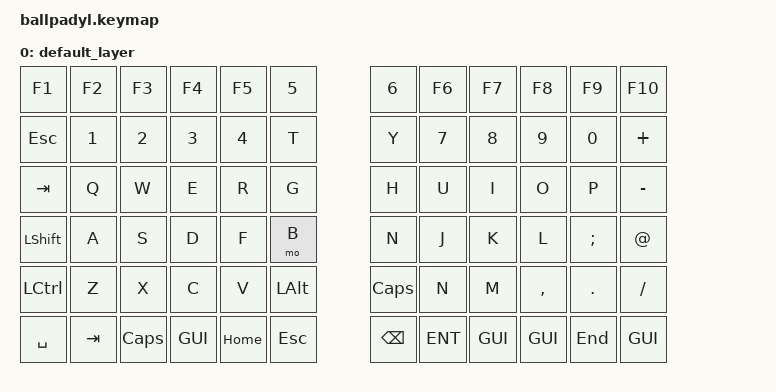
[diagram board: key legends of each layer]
/*
 * Copyright (c) 2024 The ZMK Contributors
 *
 * SPDX-License-Identifier: MIT
 */

#include <behaviors.dtsi>
#include <dt-bindings/zmk/bt.h>
#include <dt-bindings/zmk/keys.h>
#include <dt-bindings/zmk/outputs.h>



&soft_off { hold-time-ms = <5000>; };

/ 
    combos {
        compatible = "zmk,combos";

        qu {
            timeout-ms = <40>;
            key-positions = <2 1>;
            bindings = <&qu>;
            layers = <0>;
        };

        z {
            timeout-ms = <40>;
            key-positions = <19 18>;
            bindings = <&kp Z>;
            layers = <0>;
        };

        v {
            timeout-ms = <40>;
            key-positions = <1 0>;
            bindings = <&kp V>;
            layers = <0>;
        };

        q {
            timeout-ms = <40>;
            key-positions = <20 19>;
            bindings = <&kp Q>;
            layers = <0>;
        };

        lbrc {
            timeout-ms = <40>;
            key-positions = <0 9>;
            bindings = <&kp LBRC>;
            layers = <0 2>;
        };

        lbkt {
            timeout-ms = <40>;
            key-positions = <10 1>;
            bindings = <&kp LBKT>;
            layers = <0 2>;
        };

        lpar {
            timeout-ms = <40>;
            key-positions = <2 11>;
            bindings = <&kp LPAR>;
            layers = <0 2>;
        };

        lt {
            timeout-ms = <40>;
            key-positions = <3 12>;
            bindings = <&kp LT>;
            layers = <0 2>;
        };

        rbrc {
            timeout-ms = <40>;
            key-positions = <7 16>;
            bindings = <&kp RBRC>;
            layers = <0 2>;
        };

        rbkt {
            timeout-ms = <40>;
            key-positions = <6 15>;
            bindings = <&kp RBKT>;
            layers = <0 2>;
        };

        rpar {
            timeout-ms = <40>;
            key-positions = <5 14>;
            bindings = <&kp RPAR>;
            layers = <0 2>;
        };

        gt {
            timeout-ms = <40>;
            key-positions = <4 13>;
            bindings = <&kp GT>;
            layers = <0 2>;
        };

        capsword {
            timeout-ms = <40>;
            key-positions = <14 11>;
            bindings = <&caps_word>;
        };

        bspc {
            timeout-ms = <40>;
            key-positions = <16 14 15>;
            bindings = <&kp BSPC>;
        };

        del {
            timeout-ms = <40>;
            key-positions = <11 10 9>;
            bindings = <&kp DEL>;
        };

        fwslash {
            bindings = <&kp SLASH>;
            key-positions = <22 23>;
            timeout-ms = <40>;
            layers = <0>;
        };

        bkslash {
            bindings = <&kp BACKSLASH>;
            key-positions = <22 21>;
            timeout-ms = <40>;
            layers = <0>;
        };

        apos {
            bindings = <&kp APOS>;
            key-positions = <6 7>;
            timeout-ms = <40>;
            layers = <0>;
        };

        grave {
            bindings = <&kp GRAVE>;
            key-positions = <6 5>;
            timeout-ms = <40>;
            layers = <0>;
        };

        enter {
            bindings = <&kp ENTER>;
            key-positions = <14 16>;
        };

        tab {
            bindings = <&kp TAB>;
            key-positions = <9 11>;
        };

        softoff {
            bindings = <&soft_off>;
            key-positions = <21 22 23>;
        };

        boot {
            bindings = <&bootloader>;
            key-positions = <20 19 18>;
        };

        lshift {
            bindings = <&sk LEFT_SHIFT>;
            key-positions = <10 9>;
        };

        rshift {
            bindings = <&sk RIGHT_SHIFT>;
            key-positions = <15 16>;
        };

        esc {
            bindings = <&kp ESCAPE>;
            key-positions = <0 2>;
        };

        prtsc {
            bindings = <&kp PRINTSCREEN>;
            key-positions = <5 7>;
            require-prior-idle-ms = <100>;
            timeout-ms = <40>;
        };

        caps {
            bindings = <&kp CAPSLOCK>;
            key-positions = <7 0>;
        };
    };

    behaviors {
        hl: homerow_mods_left {
            compatible = "zmk,behavior-hold-tap";
            label = "homerow mods left";
            #binding-cells = <2>;
            flavor = "tap-preferred";
            tapping-term-ms = <200>;
            quick-tap-ms = <100>;

            // global-quick-tap;

            bindings = <&kp>, <&kp>;
        };

        hr: homerow_mods_right {
            compatible = "zmk,behavior-hold-tap";
            label = "homerow mods right";
            #binding-cells = <2>;
            flavor = "tap-preferred";
            tapping-term-ms = <200>;
            quick-tap-ms = <100>;

            // global-quick-tap;

            bindings = <&kp>, <&kp>;
        };

        dotcol: dot_colon {
            compatible = "zmk,behavior-mod-morph";
            label = "DOT_COL";
            #binding-cells = <0>;
            bindings = <&kp DOT>, <&kp COLON>;

            mods = <MOD_LSFT|MOD_RSFT>;
        };

        comsem: comma_semicolon {
            compatible = "zmk,behavior-mod-morph";
            label = "COM_SEM";
            #binding-cells = <0>;
            bindings = <&kp COMMA>, <&kp SEMI>;

            mods = <MOD_LSFT|MOD_RSFT>;
        };
    };

    macros {
        qu: qu {
            compatible = "zmk,behavior-macro";
            #binding-cells = <0>;
            bindings = <&kp Q &kp U>;
            label = "QU";
        };
    };

/ {
    keymap {
        compatible = "zmk,keymap";

        default_layer {

            bindings = <
&kp F1     &kp F2  &kp F3    &kp F4    &kp F5    &kp N5              &kp N6   &kp F6    &kp F7    &kp F8    &kp F9    &kp F10
&kp ESC    &kp N1  &kp N2    &kp N3    &kp N4    &kp T               &kp Y    &kp N7    &kp N8    &kp N9    &kp N0    &kp PLUS
&kp TAB    &kp Q   &kp W     &kp E     &kp R     &kp G               &kp H    &kp U     &kp I     &kp O     &kp P     &kp MINUS
&kp LSHFT  &kp A   &kp S     &kp D     &kp F     &mo B               &kp N    &kp J     &kp K     &kp L     &kp SEMI  &kp AT
&kp LCTRL  &kp Z   &kp X     &kp C     &kp V     &kp LALT            &kp CAPS &kp N     &kp M     &kp COMMA &kp DOT   &kp FSLH
&kp SPC    &kp TAB &kp CAPS  &kp GUI   &kp HOME  &kp ESCAPE          &kp BSPC &kp ENT   &kp GUI   &kp GUI   &kp END    &kp GUI
            >; 
        };
    };

    conditional_layers {
        compatible = "zmk,conditional-layers";

        fun {
            if-layers = <2 1>;
            then-layer = <3>;
        };
    };
};
